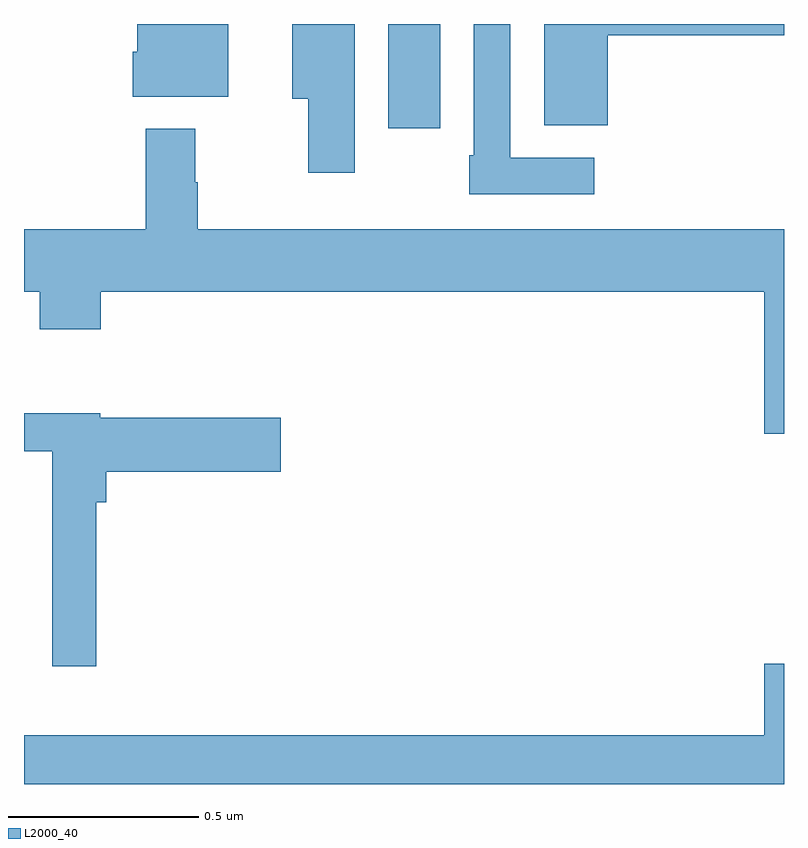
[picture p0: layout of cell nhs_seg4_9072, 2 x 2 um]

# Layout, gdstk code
import gdstk
lib = gdstk.Library(unit=1e-6, precision=1e-09)
def R(c, l, rs):  # rectangles x0, y0, x1, y1
    for r in rs: c.add(gdstk.rectangle(r[:2], r[2:], *l))
def P(c, l, *ps):  # polygons
    for p in ps: c.add(gdstk.Polygon(p, *l))
L2000_40 = (2000, 40)

nhs_seg4_9072 = lib.new_cell('nhs_seg4_9072')
R(nhs_seg4_9072, L2000_40, [(223.958,754.626,224.095,754.9)])
P(nhs_seg4_9072, L2000_40, [(224.5,754.548),(224.28,754.548),(224.28,754.9),(224.184,754.9),(224.184,754.555),(224.172,754.555),(224.172,754.452),(224.5,754.452)],
  [(224.536,754.871),(225,754.871),(225,754.9),(224.369,754.9),(224.369,754.633),(224.536,754.633)],
  [(223.87,754.9),(223.706,754.9),(223.706,754.703),(223.748,754.703),(223.748,754.509),(223.87,754.509)],
  [(223.537,754.9),(223.298,754.9),(223.298,754.827),(223.286,754.827),(223.286,754.709),(223.537,754.709)],
  [(225,754.36),(223.457,754.36),(223.457,754.484),(223.45,754.484),(223.45,754.624),(223.321,754.624),(223.321,754.36),(223,754.36),(223,754.196),(223.042,754.196),(223.042,754.097),(223.202,754.097),(223.202,754.196),(224.948,754.196),(224.948,753.822),(225,753.822)],
  [(223.19,753.641),(223.217,753.641),(223.217,753.722),(223.675,753.722),(223.675,753.864),(223.2,753.864),(223.2,753.876),(223,753.876),(223,753.776),(223.074,753.776),(223.074,753.21),(223.19,753.21)],
  [(225,753.217),(224.948,753.217),(224.948,753.028),(223,753.028),(223,752.9),(225,752.9)])

lib.write_gds('nhs_seg4_9072.gds')
